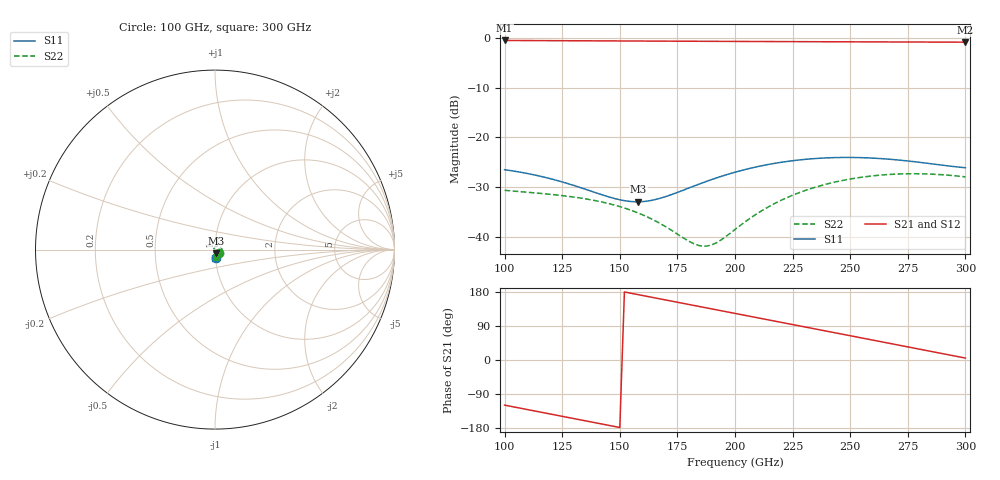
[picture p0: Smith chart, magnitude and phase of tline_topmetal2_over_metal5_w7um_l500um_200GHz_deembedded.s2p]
! Created with skrf 2.0.1 (http://scikit-rf.org).
# GHz S DB R 50.0
!freq dBS11 angS11 dBS21 angS21 dBS12 angS12 dBS22 angS22
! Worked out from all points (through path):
!   101 points, 100 GHz to 300 GHz, reference 50 ohm
!   highest |S21| = -0.52 dB at 100 GHz (marker M1); lowest = -0.9 dB at 300 GHz (marker M2)
!   group delay of S21, straight-line fit = 3.27 ps
!   lowest |S11| = -33.0 dB at 158 GHz (marker M3), VSWR 1.05, Z = 50.5 - j2.19 ohm
!   |S11| at or under -10 dB: start of sweep to end of sweep
!   |S22| runs from -41.9 to -27.4 dB; largest |S21 - S12| = 1.1e-14
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100  -26.54 -80.2  -0.52 -119.1  -0.52 -119.1  -30.69 -46.9
108  -27.14 -86.2  -0.53 -128.6  -0.53 -128.6  -31.01 -50.6
118  -28.14 -92.2  -0.55 -140.4  -0.55 -140.4  -31.42 -56.3
134  -30.31 -95.9  -0.59 -159.2  -0.59 -159.2  -32.33 -68.6
146  -32.12 -90.3  -0.61 -173.4  -0.61 -173.4  -33.46 -81.2
158  -33.01 -75.4  -0.63 172.4  -0.63 172.4  -35.26 -97.9
168  -32.23 -62.0  -0.65 160.7  -0.65 160.7  -37.50 -117.5
180  -30.22 -53.4  -0.67 146.5  -0.67 146.5  -40.95 -156.8
186  -29.17 -52.2  -0.69 139.4  -0.69 139.4  -41.94 172.3
192  -28.19 -52.5  -0.70 132.4  -0.70 132.4  -41.23 139.1
200  -27.05 -54.5  -0.71 122.9  -0.71 122.9  -38.58 105.0
210  -25.91 -58.7  -0.73 111.2  -0.73 111.2  -35.26 77.3
218  -25.20 -62.7  -0.74 101.7  -0.74 101.7  -33.16 60.6
226  -24.68 -67.2  -0.76 92.3  -0.76 92.3  -31.50 46.1
234  -24.32 -71.7  -0.77 82.9  -0.77 82.9  -30.19 32.6
242  -24.12 -76.1  -0.78 73.5  -0.78 73.5  -29.18 19.6
250  -24.08 -80.3  -0.79 64.1  -0.79 64.1  -28.42 6.8
258  -24.17 -84.1  -0.80 54.6  -0.80 54.6  -27.88 -6.0
268  -24.47 -87.9  -0.82 42.8  -0.82 42.8  -27.47 -22.3
284  -25.28 -90.8  -0.84 24.0  -0.84 24.0  -27.41 -49.8
292  -25.74 -90.3  -0.85 14.5  -0.85 14.5  -27.63 -64.5
300  -26.15 -88.3  -0.86 5.1  -0.86 5.1  -27.99 -80.3
